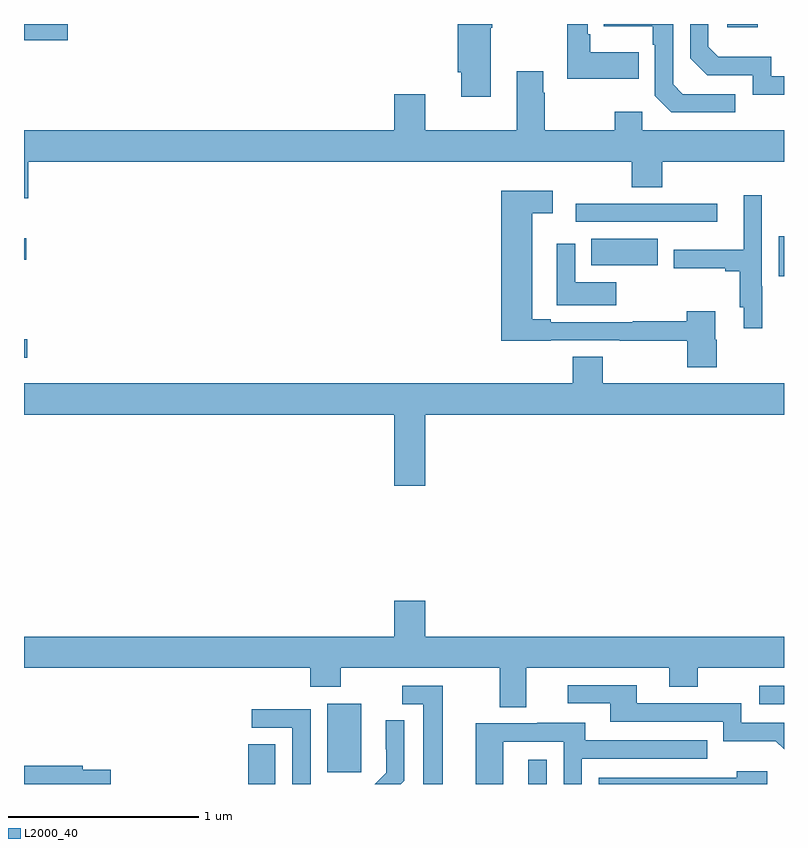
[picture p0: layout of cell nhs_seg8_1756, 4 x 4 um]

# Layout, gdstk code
import gdstk
lib = gdstk.Library(unit=1e-6, precision=1e-09)
def R(c, l, rs):  # rectangles x0, y0, x1, y1
    for r in rs: c.add(gdstk.rectangle(r[:2], r[2:], *l))
def P(c, l, *ps):  # polygons
    for p in ps: c.add(gdstk.Polygon(p, *l))
L2000_40 = (2000, 40)

nhs_seg8_1756 = lib.new_cell('nhs_seg8_1756')
R(nhs_seg8_1756, L2000_40, [(224.18,1103.9,224.323,1104.11), (225.653,1103.9,225.75,1104.028), (224.597,1103.961,224.776,1104.322), (226.869,1104.321,227,1104.417), (223,1106.144,223.018,1106.241), (226.973,1106.573,227,1106.782), (225.985,1106.63,226.335,1106.77), (223,1106.66,223.013,1106.773), (223,1107.814,223.231,1107.9), (226.701,1107.884,226.862,1107.9)])
P(nhs_seg8_1756, L2000_40, [(226.235,1107.751),(225.979,1107.751),(225.979,1107.847),(225.966,1107.847),(225.966,1107.9),(225.858,1107.9),(225.858,1107.611),(226.235,1107.611)],
  [(227,1107.624),(226.932,1107.624),(226.932,1107.727),(226.655,1107.727),(226.602,1107.78),(226.602,1107.9),(226.506,1107.9),(226.506,1107.72),(226.596,1107.63),(226.836,1107.63),(226.836,1107.528),(227,1107.528)],
  [(226.744,1107.531),(226.467,1107.531),(226.416,1107.582),(226.416,1107.9),(226.051,1107.9),(226.051,1107.887),(226.308,1107.887),(226.308,1107.791),(226.32,1107.791),(226.32,1107.522),(226.407,1107.435),(226.744,1107.435)],
  [(225.457,1107.881),(225.465,1107.881),(225.465,1107.9),(225.284,1107.9),(225.284,1107.645),(225.302,1107.645),(225.302,1107.516),(225.457,1107.516)],
  [(226.198,1107.04),(226.358,1107.04),(226.358,1107.176),(227,1107.176),(227,1107.34),(226.254,1107.34),(226.254,1107.439),(226.108,1107.439),(226.108,1107.34),(225.741,1107.34),(225.741,1107.539),(225.733,1107.539),(225.733,1107.652),(225.593,1107.652),(225.593,1107.34),(225.112,1107.34),(225.112,1107.529),(224.948,1107.529),(224.948,1107.34),(223,1107.34),(223,1106.982),(223.022,1106.982),(223.022,1107.176),(226.198,1107.176)],
  [(226.647,1106.238),(226.639,1106.238),(226.639,1106.389),(226.487,1106.389),(226.487,1106.336),(226.204,1106.336),(226.204,1106.331),(225.772,1106.331),(225.772,1106.347),(225.676,1106.347),(225.676,1106.905),(225.784,1106.905),(225.784,1107.022),(225.512,1107.022),(225.512,1106.233),(225.772,1106.233),(225.772,1106.235),(226.135,1106.235),(226.135,1106.233),(226.492,1106.233),(226.492,1106.094),(226.647,1106.094)],
  [(226.885,1106.519),(226.884,1106.519),(226.884,1106.998),(226.787,1106.998),(226.787,1106.713),(226.42,1106.713),(226.42,1106.614),(226.691,1106.614),(226.691,1106.6),(226.768,1106.6),(226.768,1106.41),(226.787,1106.41),(226.787,1106.298),(226.885,1106.298)],
  [(226.648,1106.955),(225.903,1106.955),(225.903,1106.859),(226.428,1106.859),(226.428,1106.858),(226.648,1106.858)],
  [(226.117,1106.542),(225.9,1106.542),(225.9,1106.743),(225.804,1106.743),(225.804,1106.524),(225.805,1106.524),(225.805,1106.421),(226.117,1106.421)],
  [(225.112,1105.844),(227,1105.844),(227,1106.008),(226.047,1106.008),(226.047,1106.15),(225.887,1106.15),(225.887,1106.008),(223,1106.008),(223,1105.844),(224.948,1105.844),(224.948,1105.47),(225.112,1105.47)],
  [(225.643,1104.512),(226.397,1104.512),(226.397,1104.413),(226.545,1104.413),(226.545,1104.512),(227,1104.512),(227,1104.676),(225.112,1104.676),(225.112,1104.865),(224.948,1104.865),(224.948,1104.676),(223,1104.676),(223,1104.512),(224.507,1104.512),(224.507,1104.413),(224.667,1104.413),(224.667,1104.512),(225.503,1104.512),(225.503,1104.304),(225.643,1104.304)],
  [(227,1104.222),(226.776,1104.222),(226.776,1104.324),(226.225,1104.324),(226.225,1104.42),(225.861,1104.42),(225.861,1104.324),(226.085,1104.324),(226.085,1104.228),(226.68,1104.228),(226.68,1104.125),(226.957,1104.125),(227,1104.082)],
  [(225.205,1104.417),(224.991,1104.417),(224.991,1104.321),(225.101,1104.321),(225.101,1103.9),(225.205,1103.9)],
  [(224.508,1104.294),(224.199,1104.294),(224.199,1104.195),(224.412,1104.195),(224.412,1103.9),(224.508,1103.9)],
  [(225,1103.918),(225,1104.236),(224.904,1104.236),(224.904,1104.082),(224.906,1104.082),(224.906,1103.96),(224.846,1103.9),(224.982,1103.9)],
  [(225.522,1104.123),(225.84,1104.123),(225.84,1103.9),(225.936,1103.9),(225.936,1104.033),(226.595,1104.033),(226.595,1104.129),(225.955,1104.129),(225.955,1104.223),(225.701,1104.223),(225.701,1104.219),(225.377,1104.219),(225.377,1103.9),(225.522,1103.9)],
  [(223.457,1103.976),(223.31,1103.976),(223.31,1103.996),(223,1103.996),(223,1103.9),(223.457,1103.9)],
  [(226.912,1103.968),(226.751,1103.968),(226.751,1103.934),(226.026,1103.934),(226.026,1103.9),(226.912,1103.9)])

lib.write_gds('nhs_seg8_1756.gds')
